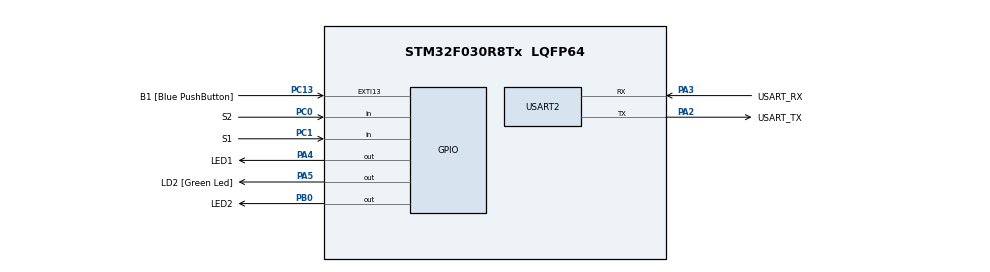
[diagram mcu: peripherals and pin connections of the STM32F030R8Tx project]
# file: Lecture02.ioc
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Mcu.Family=STM32F0
Mcu.Name=STM32F030R8Tx
Mcu.Package=LQFP64
PA13.GPIO_Label=TMS
PA13.Mode=Serial_Wire
PA13.Signal=SYS_SWDIO
PA14.GPIO_Label=TCK
PA14.Mode=Serial_Wire
PA14.Signal=SYS_SWCLK
PA2.GPIO_Label=USART_TX
PA2.GPIO_Mode=GPIO_MODE_AF_PP
PA2.GPIO_PuPd=GPIO_NOPULL
PA2.GPIO_Speed=GPIO_SPEED_FREQ_LOW
PA2.Mode=Asynchronous
PA2.Signal=USART2_TX
PA3.GPIO_Label=USART_RX
PA3.GPIO_Mode=GPIO_MODE_AF_PP
PA3.GPIO_PuPd=GPIO_NOPULL
PA3.GPIO_Speed=GPIO_SPEED_FREQ_LOW
PA3.Mode=Asynchronous
PA3.Signal=USART2_RX
PA4.GPIO_Label=LED1
PA4.Signal=GPIO_Output
PA5.GPIO_Label=LD2 [Green Led]
PA5.GPIO_Mode=GPIO_MODE_OUTPUT_PP
PA5.GPIO_PuPd=GPIO_NOPULL
PA5.GPIO_Speed=GPIO_SPEED_FREQ_LOW
PA5.Signal=GPIO_Output
PB0.GPIO_Label=LED2
PB0.Signal=GPIO_Output
PC0.GPIO_Label=S2
PC0.GPIO_PuPd=GPIO_PULLUP
PC0.Signal=GPIO_Input
PC1.GPIO_Label=S1
PC1.GPIO_PuPd=GPIO_PULLUP
PC1.Signal=GPIO_Input
PC13.GPIO_Label=B1 [Blue PushButton]
PC13.GPIO_ModeDefaultEXTI=GPIO_MODE_IT_FALLING
PC13.Signal=GPXTI13
PC14-OSC32_IN.Mode=LSE-External-Oscillator
PC14-OSC32_IN.Signal=RCC_OSC32_IN
PC15-OSC32_OUT.Mode=LSE-External-Oscillator
PC15-OSC32_OUT.Signal=RCC_OSC32_OUT
PF0-OSC_IN.Mode=HSE-External-Clock-Source
PF0-OSC_IN.Signal=RCC_OSC_IN
PF1-OSC_OUT.Signal=RCC_OSC_OUT
ProjectManager.HeapSize=0x200
ProjectManager.StackSize=0x400
ProjectManager.TargetToolchain=STM32CubeIDE
RCC.AHBFreq_Value=48000000
RCC.APB1Freq_Value=48000000
RCC.APB1TimFreq_Value=48000000
RCC.HCLKFreq_Value=48000000
RCC.PLLMUL=RCC_PLL_MUL12
RCC.SYSCLKFreq_VALUE=48000000
RCC.SYSCLKSource=RCC_SYSCLKSOURCE_PLLCLK
USART2.VirtualMode-Asynchronous=VM_ASYNC
board=NUCLEO-F030R8

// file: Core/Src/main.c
/* USER CODE BEGIN Header */
/**
  ******************************************************************************
  * @file           : main.c
  * @brief          : Main program body
  ******************************************************************************
  * @attention
  *
  * Copyright (c) 2024 STMicroelectronics.
  * All rights reserved.
  *
  * This software is licensed under terms that can be found in the LICENSE file
  * in the root directory of this software component.
  * If no LICENSE file comes with this software, it is provided AS-IS.
  *
  ******************************************************************************
  */
/* USER CODE END Header */
#include "main.h"

/* USER CODE BEGIN PD */
#define BLINK_DELAY 	300 // without =, # for preprocesor purposes (from code to text for compilator), #define == find and replace
#define button2_DELAY 	20
#define LED_SHORT_TIME 	100
#define LED_LONG_TIME 	1000
#define DEBOUNCE_TIME 	5
/* USER CODE END PD */

/* USER CODE BEGIN PV */
volatile uint32_t tick; // volatile - so it can be used by main.c and also ISR (not privat but global variable)
/* USER CODE END PV */

void SystemClock_Config(void);
static void MX_GPIO_Init(void);
static void MX_USART2_UART_Init(void);

/* USER CODE BEGIN 0 */
static void blink(){ // static- determines localization (so it functions in main.c, and if another .c the function blink() can exist and will not be overriten by this)

	static uint32_t last_blink_tick; //variable to store last blink

	if( tick > last_blink_tick + BLINK_DELAY){ // BLINK_DELAY is 300ms from PD
		last_blink_tick = tick;

		//300ms loop code
		LL_GPIO_TogglePin(LED1_GPIO_Port, LED1_Pin);
	}

}

static void button2(){ // static- determines localization (so it functions in main.c, and if another .c the function blink() can exist and will not be overriten by this)

	static uint32_t last_button_tick; //variable to store last blink
	static uint32_t last_debounce_tick;
	static uint32_t off_time;

	if(tick > last_debounce_tick + DEBOUNCE_TIME){
		last_debounce_tick = tick;
		static uint16_t debounce = 0xFFFF;

		debounce <<= 1; // bit shifting
		if(LL_GPIO_IsInputPinSet(S1_GPIO_Port, S1_Pin) == 1){ debounce |= 0x0001;}

		if(debounce == 0x8000){

			// blinks LED2 for 1s
			off_time = tick + LED_LONG_TIME;
			LL_GPIO_SetOutputPin(LED2_GPIO_Port, LED2_Pin);
		}
	}

	if( tick > last_button_tick + button2_DELAY){
		last_button_tick = tick;

		//loop code
/*
		static uint32_t old_s1;
		uint32_t new_s1=LL_GPIO_IsInputPinSet(S1_GPIO_Port, S1_Pin);
*/
		static uint32_t old_s2;
		uint32_t new_s2=LL_GPIO_IsInputPinSet(S2_GPIO_Port, S2_Pin);
/*
		// blinks LED2 for 1s
		if (old_s1 && !new_s1){	//falling edge
			off_time = tick + LED_LONG_TIME;
			LL_GPIO_SetOutputPin(LED2_GPIO_Port, LED2_Pin);
		}
		old_s1 = new_s1;
*/
		// blinks LED2 for 0.1s
		if (old_s2 && !new_s2){	//falling edge
			off_time = tick + LED_SHORT_TIME;
			LL_GPIO_SetOutputPin(LED2_GPIO_Port, LED2_Pin);
		}
		old_s2 = new_s2;
	}

	// turn off LED2 after 100ms (short time) or 1000ms (long time)
	if (tick > off_time){
		LL_GPIO_ResetOutputPin(LED2_GPIO_Port, LED2_Pin);
	}
}
/* USER CODE END 0 */

int main(void)
{

  /* MCU Configuration--------------------------------------------------------*/

  /* Reset of all peripherals, Initializes the Flash interface and the Systick. */
  LL_APB1_GRP2_EnableClock(LL_APB1_GRP2_PERIPH_SYSCFG);
  LL_APB1_GRP1_EnableClock(LL_APB1_GRP1_PERIPH_PWR);

  /* Configure the system clock */
  SystemClock_Config();

  /* Initialize all configured peripherals */
  MX_GPIO_Init();
  MX_USART2_UART_Init();
  /* USER CODE BEGIN 2 */
  LL_SYSTICK_EnableIT();
  /* USER CODE END 2 */

  /* Infinite loop */
  /* USER CODE BEGIN WHILE */
  while (1)
  {
	  blink(); 		// blinks LED1 every 300ms
	//button1();
	  button2(); 	// blinks LED2 every press of s2 for 100ms or s1 for 1s
    /* USER CODE END WHILE */

  }
}

void SystemClock_Config(void)
{
  LL_FLASH_SetLatency(LL_FLASH_LATENCY_1);
  while(LL_FLASH_GetLatency() != LL_FLASH_LATENCY_1)
  {
  }
  LL_RCC_HSI_Enable();

   /* Wait till HSI is ready */
  while(LL_RCC_HSI_IsReady() != 1)
  {

  }
  LL_RCC_HSI_SetCalibTrimming(16);
  LL_RCC_PLL_ConfigDomain_SYS(LL_RCC_PLLSOURCE_HSI_DIV_2, LL_RCC_PLL_MUL_12);
  LL_RCC_PLL_Enable();

   /* Wait till PLL is ready */
  while(LL_RCC_PLL_IsReady() != 1)
  {

  }
  LL_RCC_SetAHBPrescaler(LL_RCC_SYSCLK_DIV_1);
  LL_RCC_SetAPB1Prescaler(LL_RCC_APB1_DIV_1);
  LL_RCC_SetSysClkSource(LL_RCC_SYS_CLKSOURCE_PLL);

   /* Wait till System clock is ready */
  while(LL_RCC_GetSysClkSource() != LL_RCC_SYS_CLKSOURCE_STATUS_PLL)
  {

  }
  LL_Init1msTick(48000000);
  LL_SetSystemCoreClock(48000000);
}

static void MX_USART2_UART_Init(void)
{

  LL_USART_InitTypeDef USART_InitStruct = {0};

  LL_GPIO_InitTypeDef GPIO_InitStruct = {0};

  /* Peripheral clock enable */
  LL_APB1_GRP1_EnableClock(LL_APB1_GRP1_PERIPH_USART2);

  LL_AHB1_GRP1_EnableClock(LL_AHB1_GRP1_PERIPH_GPIOA);
  /**USART2 GPIO Configuration
  PA2   ------> USART2_TX
  PA3   ------> USART2_RX
  */
  GPIO_InitStruct.Pin = USART_TX_Pin;
  GPIO_InitStruct.Mode = LL_GPIO_MODE_ALTERNATE;
  GPIO_InitStruct.Speed = LL_GPIO_SPEED_FREQ_LOW;
  GPIO_InitStruct.OutputType = LL_GPIO_OUTPUT_PUSHPULL;
  GPIO_InitStruct.Pull = LL_GPIO_PULL_NO;
  GPIO_InitStruct.Alternate = LL_GPIO_AF_1;
  LL_GPIO_Init(USART_TX_GPIO_Port, &GPIO_InitStruct);

  GPIO_InitStruct.Pin = USART_RX_Pin;
  GPIO_InitStruct.Mode = LL_GPIO_MODE_ALTERNATE;
  GPIO_InitStruct.Speed = LL_GPIO_SPEED_FREQ_LOW;
  GPIO_InitStruct.OutputType = LL_GPIO_OUTPUT_PUSHPULL;
  GPIO_InitStruct.Pull = LL_GPIO_PULL_NO;
  GPIO_InitStruct.Alternate = LL_GPIO_AF_1;
  LL_GPIO_Init(USART_RX_GPIO_Port, &GPIO_InitStruct);

  USART_InitStruct.BaudRate = 38400;
  USART_InitStruct.DataWidth = LL_USART_DATAWIDTH_8B;
  USART_InitStruct.StopBits = LL_USART_STOPBITS_1;
  USART_InitStruct.Parity = LL_USART_PARITY_NONE;
  USART_InitStruct.TransferDirection = LL_USART_DIRECTION_TX_RX;
  USART_InitStruct.HardwareFlowControl = LL_USART_HWCONTROL_NONE;
  USART_InitStruct.OverSampling = LL_USART_OVERSAMPLING_16;
  LL_USART_Init(USART2, &USART_InitStruct);
  LL_USART_DisableIT_CTS(USART2);
  LL_USART_ConfigAsyncMode(USART2);
  LL_USART_Enable(USART2);

}

static void MX_GPIO_Init(void)
{
  LL_EXTI_InitTypeDef EXTI_InitStruct = {0};
  LL_GPIO_InitTypeDef GPIO_InitStruct = {0};

  /* GPIO Ports Clock Enable */
  LL_AHB1_GRP1_EnableClock(LL_AHB1_GRP1_PERIPH_GPIOC);
  LL_AHB1_GRP1_EnableClock(LL_AHB1_GRP1_PERIPH_GPIOF);
  LL_AHB1_GRP1_EnableClock(LL_AHB1_GRP1_PERIPH_GPIOA);
  LL_AHB1_GRP1_EnableClock(LL_AHB1_GRP1_PERIPH_GPIOB);

  /**/
  LL_GPIO_ResetOutputPin(LED1_GPIO_Port, LED1_Pin);

  /**/
  LL_GPIO_ResetOutputPin(LD2_GPIO_Port, LD2_Pin);

  /**/
  LL_GPIO_ResetOutputPin(LED2_GPIO_Port, LED2_Pin);

  /**/
  LL_SYSCFG_SetEXTISource(LL_SYSCFG_EXTI_PORTC, LL_SYSCFG_EXTI_LINE13);

  /**/
  LL_GPIO_SetPinPull(B1_GPIO_Port, B1_Pin, LL_GPIO_PULL_NO);

  /**/
  LL_GPIO_SetPinMode(B1_GPIO_Port, B1_Pin, LL_GPIO_MODE_INPUT);

  /**/
  EXTI_InitStruct.Line_0_31 = LL_EXTI_LINE_13;
  EXTI_InitStruct.LineCommand = ENABLE;
  EXTI_InitStruct.Mode = LL_EXTI_MODE_IT;
  EXTI_InitStruct.Trigger = LL_EXTI_TRIGGER_FALLING;
  LL_EXTI_Init(&EXTI_InitStruct);

  /**/
  GPIO_InitStruct.Pin = S2_Pin;
  GPIO_InitStruct.Mode = LL_GPIO_MODE_INPUT;
  GPIO_InitStruct.Pull = LL_GPIO_PULL_UP;
  LL_GPIO_Init(S2_GPIO_Port, &GPIO_InitStruct);

  /**/
  GPIO_InitStruct.Pin = S1_Pin;
  GPIO_InitStruct.Mode = LL_GPIO_MODE_INPUT;
  GPIO_InitStruct.Pull = LL_GPIO_PULL_UP;
  LL_GPIO_Init(S1_GPIO_Port, &GPIO_InitStruct);

  /**/
  GPIO_InitStruct.Pin = LED1_Pin;
  GPIO_InitStruct.Mode = LL_GPIO_MODE_OUTPUT;
  GPIO_InitStruct.Speed = LL_GPIO_SPEED_FREQ_LOW;
  GPIO_InitStruct.OutputType = LL_GPIO_OUTPUT_PUSHPULL;
  GPIO_InitStruct.Pull = LL_GPIO_PULL_NO;
  LL_GPIO_Init(LED1_GPIO_Port, &GPIO_InitStruct);

  /**/
  GPIO_InitStruct.Pin = LD2_Pin;
  GPIO_InitStruct.Mode = LL_GPIO_MODE_OUTPUT;
  GPIO_InitStruct.Speed = LL_GPIO_SPEED_FREQ_LOW;
  GPIO_InitStruct.OutputType = LL_GPIO_OUTPUT_PUSHPULL;
  GPIO_InitStruct.Pull = LL_GPIO_PULL_NO;
  LL_GPIO_Init(LD2_GPIO_Port, &GPIO_InitStruct);

  /**/
  GPIO_InitStruct.Pin = LED2_Pin;
  GPIO_InitStruct.Mode = LL_GPIO_MODE_OUTPUT;
  GPIO_InitStruct.Speed = LL_GPIO_SPEED_FREQ_LOW;
  GPIO_InitStruct.OutputType = LL_GPIO_OUTPUT_PUSHPULL;
  GPIO_InitStruct.Pull = LL_GPIO_PULL_NO;
  LL_GPIO_Init(LED2_GPIO_Port, &GPIO_InitStruct);

}

void Error_Handler(void)
{
  __disable_irq();
  while (1)
  {
  }
}
